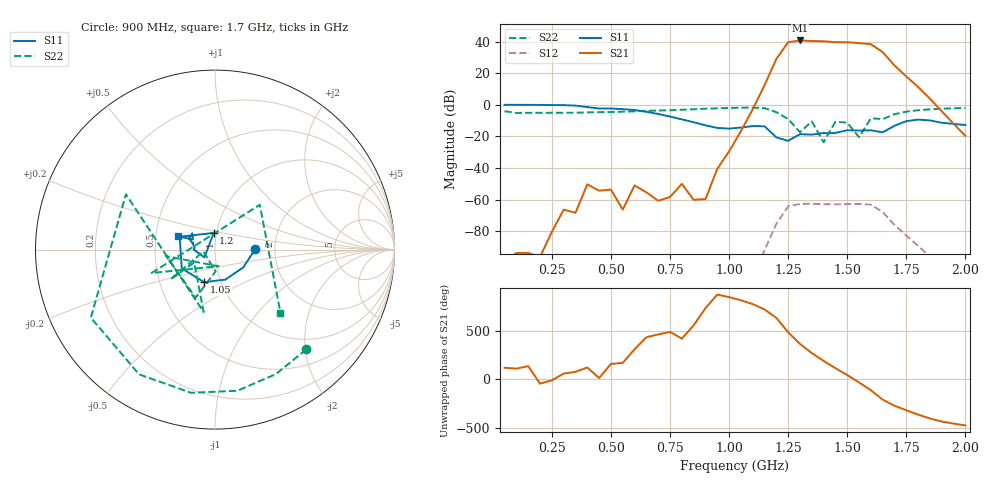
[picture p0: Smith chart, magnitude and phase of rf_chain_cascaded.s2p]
! AWR Design Environment (18789) Mon Mar 23 01:53:00 2026
! Document = 'Schematic 1'
! nPorts: 2, nXvals: 42
# GHz S DB R 50
!Freq	DBS11	AngS11	DBS21	AngS21	DBS12	AngS12	DBS22	AngS22
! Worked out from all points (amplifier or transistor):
!   41 points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, 50 MHz to 2 GHz, reference 50 ohm
!   highest |S21| = 40.7 dB at 1.3 GHz (marker M1)
!   |S21| within 3 dB of that: 1.241 GHz to 1.606 GHz (365.2 MHz wide, 25.7 % of centre)
!   unconditionally stable (mu >= 1): start of sweep to end of sweep
!   at 350 MHz: K = 87273147942.98, MAG = -120.0 dB, |S12| = -179.1 dB
!   at 1.05 GHz: K = 1439306.09, MAG = -11.9 dB, |S12| = -122.0 dB
!   at 2 GHz: K = 1363670.92, MAG = -15.0 dB, |S12| = -118.4 dB
!   lowest NFmin = 0.00 dB at 0 Hz
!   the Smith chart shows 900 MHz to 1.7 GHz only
!   S11 on the Smith chart (normalised r, x): 900 MHz: 1.58, +0.01; 1.05 GHz: 0.83, -0.31; 1.2 GHz: 0.97, +0.18; 1.7 GHz: 0.65, +0.10
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0.05  -0.02 -16.9  -98.28 119.9  -173.83 12.3  -4.07 -178.2
0.4  -1.44 -146.4  -50.28 122.5  -167.52 -136.8  -4.81 95.2
0.7  -5.79 99.2  -60.64 100.9  -164.42 -179.1  -3.62 12.6
0.9  -12.96 0.9  -59.57 8.8  -161.29 -71.5  -2.46 -47.5
1.05  -14.36 -108.7  -16.70 89.9  -122.03 -118.0  -1.84 -99.4
1.1  -13.45 -150.5  -2.83 50.7  -107.77 -151.5  -1.79 -121.3
1.15  -13.58 160.1  12.42 -4.0  -91.97 157.8  -2.06 -151.3
1.2  -20.60 94.4  28.96 -90.6  -75.21 76.1  -4.67 148.1
1.25  -22.74 -143.9  39.58 122.3  -64.16 -65.6  -9.03 -100.3
1.3  -18.54 -179.9  40.66 3.2  -62.63 179.6  -17.28 -148.2
1.35  -18.86 174.4  40.34 -89.4  -62.53 91.0  -10.52 -146.3
1.4  -17.79 164.7  40.14 -170.6  -62.85 13.4  -23.68 -170.8
1.42  -17.96 162.2  39.91 158.8  -62.77 -13.8  -18.32 -88.5
1.45  -17.77 163.9  39.58 115.7  -62.91 -55.1  -10.78 -111.9
1.5  -16.07 157.2  39.54 44.6  -62.74 -122.9  -11.25 -172.3
1.55  -16.28 147.5  38.98 -30.4  -62.71 168.7  -20.48 -78.3
1.6  -16.12 144.3  38.28 -110.1  -63.10 93.8  -8.49 -159.8
1.65  -17.38 155.0  33.31 153.8  -67.74 2.1  -9.04 45.0
1.7  -13.26 160.3  24.86 91.4  -75.92 -56.4  -5.92 -43.9
1.75  -10.34 144.1  17.89 45.2  -82.64 -100.1  -4.35 -79.3
1.8  -9.35 123.8  11.25 0.8  -89.15 -137.9  -3.44 -101.4
2  -12.77 87.8  -19.61 -110.2  -118.37 129.9  -1.96 -154.0
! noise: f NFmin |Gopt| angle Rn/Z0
0  4.375e-12  1  180  2e-20
0.2  73.12  0.9903  68.99  7.185e+08
0.45  50.41  0.7647  159.5  1.006e+04
0.65  57.1  0.6024  -120.8  1.504e+05
0.9  66.23  0.2249  -0.9228  1.658e+06
1.1  12.82  0.2127  150.5  3.209
1.35  0.00912  0.09457  -177.4  0.0004415
1.5  0.01013  0.1212  -161.7  0.0004697
1.75  0.4288  0.3043  -143.9  0.01718
2  26.18  0.2298  -87.8  117
